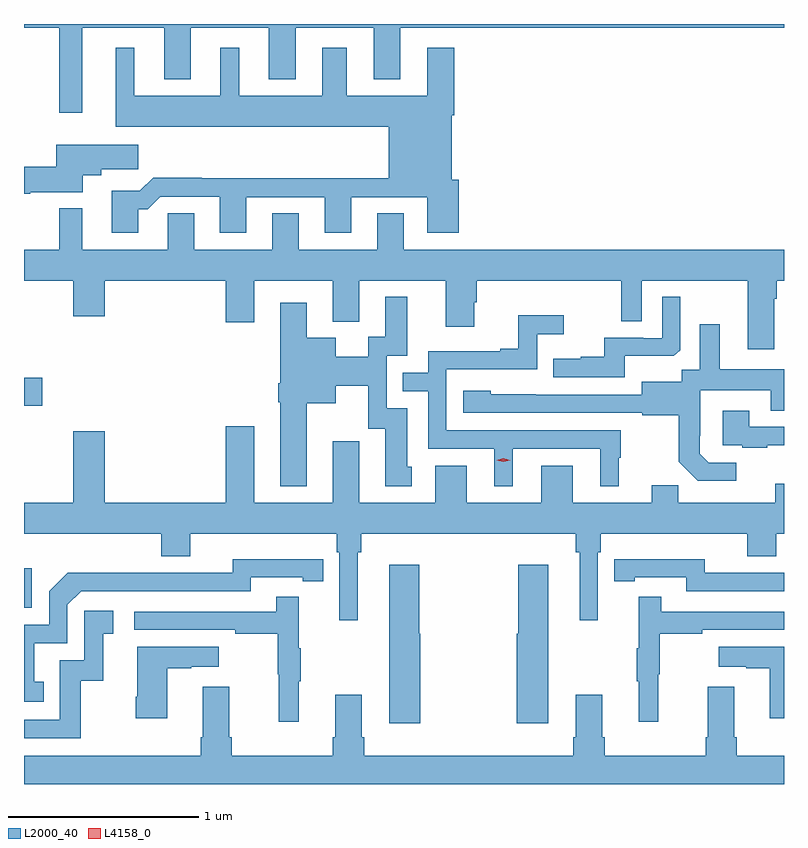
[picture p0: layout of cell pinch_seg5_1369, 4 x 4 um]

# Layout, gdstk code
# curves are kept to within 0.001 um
import gdstk
lib = gdstk.Library(unit=1e-6, precision=1e-09)
def R(c, l, rs):  # rectangles x0, y0, x1, y1
    for r in rs: c.add(gdstk.rectangle(r[:2], r[2:], *l))
def P(c, l, *ps):  # polygons
    for p in ps: c.add(gdstk.Polygon(p, *l))
L2000_40 = (2000, 40)
L4158_0 = (4158, 0)

pinch_seg5_1369 = lib.new_cell('pinch_seg5_1369')
R(pinch_seg5_1369, L2000_40, [(140.772,900.327,140.814,900.535), (140.772,901.391,140.869,901.538)])
P(pinch_seg5_1369, L2000_40, [(144.772,903.399),(140.772,903.399),(140.772,903.38),(140.958,903.38),(140.958,902.931),(141.079,902.931),(141.079,903.38),(141.509,903.38),(141.509,903.107),(141.649,903.107),(141.649,903.38),(142.061,903.38),(142.061,903.107),(142.201,903.107),(142.201,903.38),(142.613,903.38),(142.613,903.107),(142.753,903.107),(142.753,903.38),(144.772,903.38)],
  [(141.373,902.423),(141.422,902.423),(141.489,902.49),(141.803,902.49),(141.803,902.301),(141.943,902.301),(141.943,902.487),(142.355,902.487),(142.355,902.301),(142.495,902.301),(142.495,902.487),(142.895,902.487),(142.895,902.301),(143.06,902.301),(143.06,902.58),(143.023,902.58),(143.023,902.918),(143.036,902.918),(143.036,903.274),(142.895,903.274),(142.895,903.022),(142.471,903.022),(142.471,903.274),(142.343,903.274),(142.343,903.022),(141.904,903.022),(141.904,903.274),(141.806,903.274),(141.806,903.022),(141.352,903.022),(141.352,903.274),(141.254,903.274),(141.254,902.858),(142.691,902.858),(142.691,902.588),(141.707,902.588),(141.707,902.591),(141.452,902.591),(141.382,902.521),(141.233,902.521),(141.233,902.301),(141.373,902.301)],
  [(140.806,902.513),(141.082,902.513),(141.082,902.603),(141.178,902.603),(141.178,902.635),(141.373,902.635),(141.373,902.764),(140.942,902.764),(140.942,902.648),(140.772,902.648),(140.772,902.506),(140.806,902.506)],
  [(142.771,902.402),(142.631,902.402),(142.631,902.212),(142.219,902.212),(142.219,902.402),(142.079,902.402),(142.079,902.212),(141.667,902.212),(141.667,902.402),(141.528,902.402),(141.528,902.212),(141.079,902.212),(141.079,902.428),(140.958,902.428),(140.958,902.212),(140.772,902.212),(140.772,902.048),(141.032,902.048),(141.032,901.86),(141.196,901.86),(141.196,902.048),(141.833,902.048),(141.833,901.83),(141.985,901.83),(141.985,902.048),(142.397,902.048),(142.397,901.832),(142.537,901.832),(142.537,902.048),(142.991,902.048),(142.991,901.806),(143.143,901.806),(143.143,901.935),(143.156,901.935),(143.156,902.048),(143.916,902.048),(143.916,901.834),(144.024,901.834),(144.024,902.048),(144.581,902.048),(144.581,901.686),(144.721,901.686),(144.721,901.952),(144.734,901.952),(144.734,902.048),(144.772,902.048),(144.772,902.212),(142.771,902.212)],
  [(143.935,901.652),(144.193,901.652),(144.225,901.683),(144.225,901.963),(144.132,901.963),(144.132,901.746),(144.032,901.746),(144.032,901.749),(143.825,901.749),(143.825,901.648),(143.701,901.648),(143.701,901.636),(143.557,901.636),(143.557,901.539),(143.935,901.539)],
  [(142.261,901.403),(142.414,901.403),(142.414,901.496),(142.584,901.496),(142.584,901.269),(142.673,901.269),(142.673,900.966),(142.813,900.966),(142.813,901.068),(142.789,901.068),(142.789,901.377),(142.68,901.377),(142.68,901.653),(142.789,901.653),(142.789,901.963),(142.673,901.963),(142.673,901.754),(142.583,901.754),(142.583,901.648),(142.414,901.648),(142.414,901.747),(142.261,901.747),(142.261,901.933),(142.121,901.933),(142.121,901.507),(142.109,901.507),(142.109,901.407),(142.121,901.407),(142.121,900.965),(142.261,900.965)],
  [(143.344,901.164),(143.804,901.164),(143.804,900.965),(143.902,900.965),(143.902,901.116),(143.914,901.116),(143.914,901.26),(142.995,901.26),(142.995,901.581),(143.472,901.581),(143.472,901.766),(143.614,901.766),(143.614,901.865),(143.374,901.865),(143.374,901.69),(143.279,901.69),(143.279,901.677),(142.899,901.677),(142.899,901.563),(142.765,901.563),(142.765,901.467),(142.899,901.467),(142.899,901.164),(143.246,901.164),(143.246,900.965),(143.344,900.965)],
  [(144.52,901.089),(144.375,901.089),(144.328,901.136),(144.328,901.231),(144.33,901.231),(144.33,901.472),(144.701,901.472),(144.701,901.363),(144.772,901.363),(144.772,901.582),(144.433,901.582),(144.433,901.819),(144.329,901.819),(144.329,901.58),(144.234,901.58),(144.234,901.516),(144.023,901.516),(144.023,901.449),(143.229,901.45),(143.229,901.468),(143.085,901.468),(143.085,901.353),(144.027,901.353),(144.027,901.341),(144.219,901.341),(144.219,901.095),(144.319,900.995),(144.52,900.995)],
  [(144.685,901.181),(144.772,901.181),(144.772,901.278),(144.589,901.278),(144.589,901.363),(144.449,901.363),(144.449,901.182),(144.553,901.182),(144.553,901.17),(144.685,901.17)],
  [(142.528,900.62),(142.547,900.62),(142.547,900.716),(143.677,900.716),(143.677,900.62),(143.696,900.62),(143.696,900.261),(143.793,900.261),(143.793,900.62),(143.807,900.62),(143.807,900.716),(144.578,900.716),(144.578,900.599),(144.731,900.599),(144.731,900.716),(144.772,900.716),(144.772,900.979),(144.725,900.979),(144.725,900.88),(144.215,900.88),(144.215,900.971),(144.077,900.971),(144.077,900.88),(143.659,900.88),(143.659,901.075),(143.495,901.075),(143.495,900.88),(143.101,900.88),(143.101,901.075),(142.937,901.075),(142.937,900.88),(142.537,900.88),(142.537,901.204),(142.397,901.204),(142.397,900.88),(141.985,900.88),(141.985,901.282),(141.833,901.282),(141.833,900.88),(141.196,900.88),(141.196,901.255),(141.032,901.255),(141.032,900.88),(140.772,900.88),(140.772,900.716),(141.494,900.716),(141.494,900.599),(141.646,900.599),(141.646,900.716),(142.418,900.716),(142.418,900.62),(142.431,900.62),(142.431,900.261),(142.528,900.261)],
  [(140.876,899.937),(140.827,899.937),(140.827,900.141),(141,900.141),(141,900.342),(141.072,900.414),(141.966,900.414),(141.966,900.486),(142.238,900.486),(142.238,900.466),(142.346,900.466),(142.346,900.582),(141.87,900.583),(141.87,900.51),(141.41,900.51),(141.41,900.512),(141.002,900.512),(140.904,900.414),(140.904,900.237),(140.772,900.237),(140.772,899.832),(140.876,899.832)],
  [(144.772,900.51),(144.354,900.51),(144.354,900.583),(143.986,900.583),(143.986,900.582),(143.878,900.582),(143.878,900.466),(143.986,900.466),(143.986,900.486),(144.258,900.486),(144.258,900.414),(144.772,900.414)],
  [(143.53,900.553),(143.372,900.553),(143.372,900.189),(143.366,900.189),(143.366,899.718),(143.53,899.718)],
  [(142.858,900.189),(142.853,900.189),(142.853,900.553),(142.694,900.553),(142.694,899.718),(142.858,899.718)],
  [(142.217,899.939),(142.228,899.939),(142.228,900.113),(142.217,900.113),(142.217,900.385),(142.099,900.385),(142.099,900.306),(141.351,900.306),(141.351,900.21),(141.883,900.21),(141.883,900.19),(142.107,900.19),(142.107,899.976),(142.114,899.976),(142.114,899.727),(142.217,899.727)],
  [(144.11,899.976),(144.118,899.976),(144.118,900.19),(144.341,900.19),(144.341,900.21),(144.772,900.21),(144.772,900.306),(144.125,900.306),(144.125,900.385),(144.008,900.385),(144.008,900.113),(143.997,900.113),(143.997,899.939),(144.008,899.939),(144.008,899.727),(144.11,899.727)],
  [(141.07,899.943),(141.188,899.943),(141.188,900.189),(141.241,900.189),(141.241,900.31),(141.09,900.31),(141.09,900.051),(140.961,900.051),(140.961,899.736),(140.772,899.736),(140.772,899.64),(141.07,899.64)],
  [(141.526,900.007),(141.653,900.007),(141.653,900.017),(141.796,900.017),(141.796,900.121),(141.368,900.121),(141.368,899.857),(141.361,899.857),(141.361,899.745),(141.526,899.745)],
  [(144.772,900.121),(144.429,900.121),(144.429,900.017),(144.572,900.017),(144.572,900.007),(144.698,900.007),(144.698,899.745),(144.772,899.745)],
  [(144.772,899.548),(144.524,899.548),(144.524,899.644),(144.511,899.644),(144.511,899.911),(144.371,899.911),(144.371,899.644),(144.359,899.644),(144.359,899.548),(143.828,899.548),(143.828,899.644),(143.815,899.644),(143.815,899.869),(143.675,899.869),(143.675,899.644),(143.663,899.644),(143.663,899.548),(142.562,899.548),(142.562,899.644),(142.549,899.644),(142.549,899.869),(142.409,899.869),(142.409,899.644),(142.397,899.644),(142.397,899.548),(141.866,899.548),(141.866,899.644),(141.853,899.644),(141.853,899.911),(141.713,899.911),(141.713,899.644),(141.701,899.644),(141.701,899.548),(140.772,899.548),(140.772,899.399),(144.772,899.399)])
P(pinch_seg5_1369, L4158_0, [(143.295,901.094),(143.259,901.104),(143.259,901.104),(143.259,901.104),(143.295,901.114),(143.331,901.104),(143.331,901.104),(143.331,901.104)])

lib.write_gds('pinch_seg5_1369.gds')
